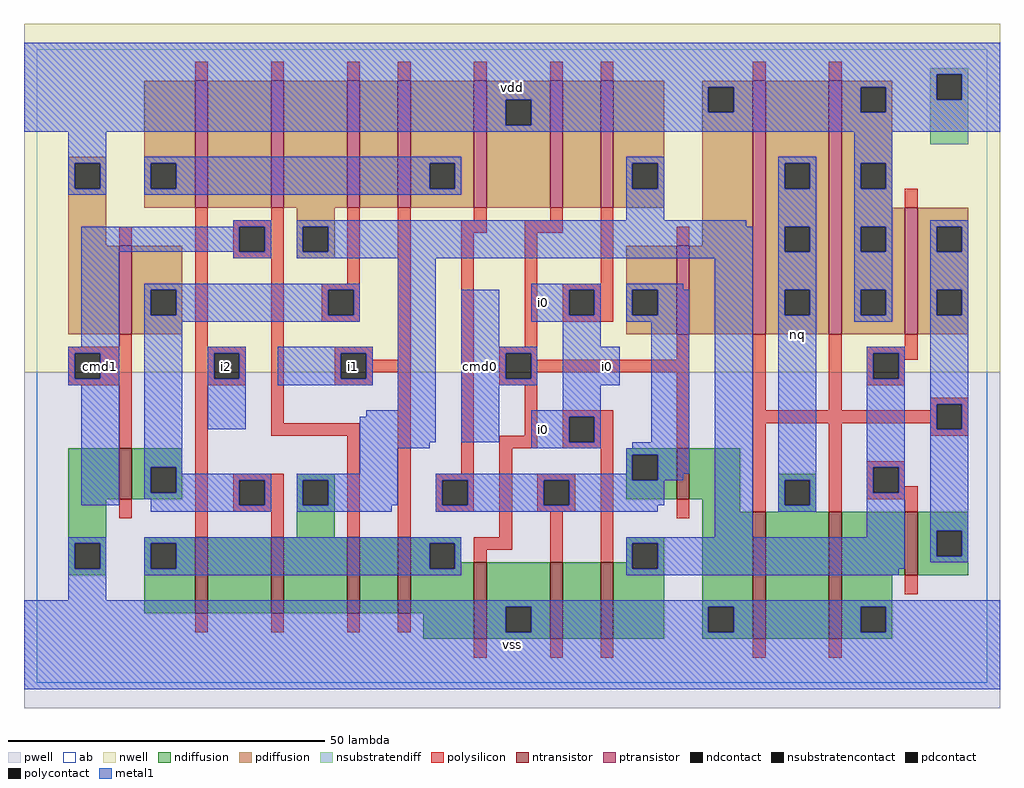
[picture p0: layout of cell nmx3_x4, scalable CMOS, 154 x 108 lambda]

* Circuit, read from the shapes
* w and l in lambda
.subckt nmx3_x4 cmd0 cmd1 i0 i1 i2 nq vdd vss
M1 n1 cmd1 vss VSUBS nfet w=8 l=2
M2 n2 i2 n3 VSUBS nfet w=12 l=2
M3 n4 n1 n2 VSUBS nfet w=12 l=2
M4 n5 cmd1 n4 VSUBS nfet w=12 l=2
M5 n3 i1 n5 VSUBS nfet w=12 l=2
M6 vss cmd0 n3 VSUBS nfet w=12 l=2
M7 n6 n7 vss VSUBS nfet w=12 l=2
M8 n4 i0 n6 VSUBS nfet w=12 l=2
M9 vss cmd0 n7 VSUBS nfet w=8 l=2
M10 nq n8 vss VSUBS nfet w=20 l=2 m=2
M11 n8 n4 vss VSUBS nfet w=10 l=2
M12 n1 cmd1 vdd vdd pfet w=14 l=2
M13 n9 i2 n10 vdd pfet w=20 l=2
M14 n4 cmd1 n9 vdd pfet w=20 l=2
M15 n11 n1 n4 vdd pfet w=20 l=2
M16 n10 i1 n11 vdd pfet w=20 l=2
M17 vdd n7 n10 vdd pfet w=20 l=2
M18 n12 cmd0 vdd vdd pfet w=20 l=2
M19 n4 i0 n12 vdd pfet w=20 l=2
M20 vdd cmd0 n7 vdd pfet w=14 l=2
M21 nq n8 vdd vdd pfet w=40 l=2 m=2
M22 n8 n4 vdd vdd pfet w=20 l=2
.ends

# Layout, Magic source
magic
tech scmos
<< ab >>
rect 0 0 150 100
<< pwell >>
rect -2 -4 152 49
<< nwell >>
rect -2 49 152 104
<< polysilicon >>
rect 25 95 27 98
rect 37 95 39 98
rect 49 95 51 98
rect 57 95 59 98
rect 69 95 71 98
rect 81 95 83 98
rect 89 95 91 98
rect 113 95 115 98
rect 125 95 127 98
rect 13 69 15 72
rect 13 53 15 55
rect 5 52 15 53
rect 5 48 6 52
rect 10 48 15 52
rect 5 47 15 48
rect 13 37 15 47
rect 25 53 27 75
rect 37 73 39 75
rect 31 72 39 73
rect 31 68 32 72
rect 36 68 39 72
rect 31 67 39 68
rect 25 52 33 53
rect 25 48 28 52
rect 32 48 33 52
rect 25 47 33 48
rect 13 26 15 29
rect 25 23 27 47
rect 37 41 39 67
rect 49 63 51 75
rect 45 62 51 63
rect 45 58 46 62
rect 50 58 51 62
rect 45 57 51 58
rect 47 52 53 53
rect 47 48 48 52
rect 52 51 53 52
rect 57 51 59 75
rect 69 73 71 75
rect 81 73 83 75
rect 52 49 59 51
rect 52 48 53 49
rect 47 47 53 48
rect 37 39 51 41
rect 31 32 39 33
rect 31 28 32 32
rect 36 28 39 32
rect 31 27 39 28
rect 37 23 39 27
rect 49 23 51 39
rect 57 23 59 49
rect 67 71 71 73
rect 77 71 83 73
rect 67 33 69 71
rect 77 53 79 71
rect 89 63 91 75
rect 101 69 103 72
rect 83 62 91 63
rect 83 58 84 62
rect 88 58 91 62
rect 83 57 91 58
rect 137 75 139 78
rect 73 52 79 53
rect 73 48 74 52
rect 78 51 79 52
rect 101 51 103 55
rect 78 49 103 51
rect 78 48 79 49
rect 73 47 79 48
rect 77 39 79 47
rect 63 32 69 33
rect 63 28 64 32
rect 68 28 69 32
rect 63 27 69 28
rect 73 37 79 39
rect 83 42 91 43
rect 83 38 84 42
rect 88 38 91 42
rect 83 37 91 38
rect 101 37 103 49
rect 113 43 115 55
rect 125 43 127 55
rect 137 53 139 55
rect 131 52 139 53
rect 131 48 132 52
rect 136 51 139 52
rect 136 48 137 51
rect 131 47 137 48
rect 141 44 147 45
rect 141 43 142 44
rect 113 41 142 43
rect 73 23 75 37
rect 79 32 85 33
rect 79 28 80 32
rect 84 28 85 32
rect 79 27 85 28
rect 69 21 75 23
rect 69 19 71 21
rect 81 19 83 27
rect 89 19 91 37
rect 101 26 103 29
rect 113 27 115 41
rect 125 27 127 41
rect 141 40 142 41
rect 146 40 147 44
rect 141 39 147 40
rect 131 34 137 35
rect 131 30 132 34
rect 136 31 137 34
rect 136 30 139 31
rect 131 29 139 30
rect 137 27 139 29
rect 25 8 27 11
rect 37 8 39 11
rect 49 8 51 11
rect 57 8 59 11
rect 137 14 139 17
rect 69 4 71 7
rect 81 4 83 7
rect 89 4 91 7
rect 113 4 115 7
rect 125 4 127 7
<< ndiffusion >>
rect 5 29 13 37
rect 15 34 23 37
rect 15 30 18 34
rect 22 30 23 34
rect 15 29 23 30
rect 5 22 11 29
rect 41 32 47 33
rect 41 28 42 32
rect 46 28 47 32
rect 41 23 47 28
rect 5 18 6 22
rect 10 18 11 22
rect 5 17 11 18
rect 17 22 25 23
rect 17 18 18 22
rect 22 18 25 22
rect 17 11 25 18
rect 27 11 37 23
rect 39 11 49 23
rect 51 11 57 23
rect 59 22 67 23
rect 59 18 62 22
rect 66 19 67 22
rect 93 36 101 37
rect 93 32 94 36
rect 98 32 101 36
rect 93 29 101 32
rect 103 29 111 37
rect 105 27 111 29
rect 117 32 123 33
rect 117 28 118 32
rect 122 28 123 32
rect 117 27 123 28
rect 93 22 99 23
rect 93 19 94 22
rect 66 18 69 19
rect 59 11 69 18
rect 61 7 69 11
rect 71 12 81 19
rect 71 8 74 12
rect 78 8 81 12
rect 71 7 81 8
rect 83 7 89 19
rect 91 18 94 19
rect 98 18 99 22
rect 91 7 99 18
rect 105 12 113 27
rect 105 8 106 12
rect 110 8 113 12
rect 105 7 113 8
rect 115 7 125 27
rect 127 17 137 27
rect 139 24 147 27
rect 139 20 142 24
rect 146 20 147 24
rect 139 17 147 20
rect 127 12 135 17
rect 127 8 130 12
rect 134 8 135 12
rect 127 7 135 8
<< pdiffusion >>
rect 5 82 11 83
rect 5 78 6 82
rect 10 78 11 82
rect 5 69 11 78
rect 17 82 25 95
rect 17 78 18 82
rect 22 78 25 82
rect 17 75 25 78
rect 27 75 37 95
rect 39 75 49 95
rect 51 75 57 95
rect 59 82 69 95
rect 59 78 62 82
rect 66 78 69 82
rect 59 75 69 78
rect 71 92 81 95
rect 71 88 74 92
rect 78 88 81 92
rect 71 75 81 88
rect 83 75 89 95
rect 91 82 99 95
rect 91 78 94 82
rect 98 78 99 82
rect 91 75 99 78
rect 105 94 113 95
rect 105 90 106 94
rect 110 90 113 94
rect 5 55 13 69
rect 15 62 23 69
rect 15 58 18 62
rect 22 58 23 62
rect 15 55 23 58
rect 41 72 47 75
rect 41 68 42 72
rect 46 68 47 72
rect 41 67 47 68
rect 105 69 113 90
rect 93 62 101 69
rect 93 58 94 62
rect 98 58 101 62
rect 93 55 101 58
rect 103 55 113 69
rect 115 82 125 95
rect 115 78 118 82
rect 122 78 125 82
rect 115 72 125 78
rect 115 68 118 72
rect 122 68 125 72
rect 115 62 125 68
rect 115 58 118 62
rect 122 58 125 62
rect 115 55 125 58
rect 127 94 135 95
rect 127 90 130 94
rect 134 90 135 94
rect 127 82 135 90
rect 127 78 130 82
rect 134 78 135 82
rect 127 75 135 78
rect 127 72 137 75
rect 127 68 130 72
rect 134 68 137 72
rect 127 62 137 68
rect 127 58 130 62
rect 134 58 137 62
rect 127 55 137 58
rect 139 72 147 75
rect 139 68 142 72
rect 146 68 147 72
rect 139 62 147 68
rect 139 58 142 62
rect 146 58 147 62
rect 139 55 147 58
<< metal1 >>
rect -2 96 152 101
rect -2 94 142 96
rect -2 92 106 94
rect -2 88 74 92
rect 78 90 106 92
rect 110 90 130 94
rect 134 92 142 94
rect 146 92 152 96
rect 134 90 152 92
rect 78 88 152 90
rect -2 87 152 88
rect 5 82 11 87
rect 5 78 6 82
rect 10 78 11 82
rect 5 77 11 78
rect 17 82 67 83
rect 17 78 18 82
rect 22 78 62 82
rect 66 78 67 82
rect 17 77 67 78
rect 93 82 99 83
rect 93 78 94 82
rect 98 78 99 82
rect 93 73 99 78
rect 117 82 123 83
rect 117 78 118 82
rect 122 78 123 82
rect 31 72 37 73
rect 7 68 32 72
rect 36 68 37 72
rect 7 53 13 68
rect 31 67 37 68
rect 41 72 112 73
rect 117 72 123 78
rect 41 68 42 72
rect 46 68 113 72
rect 41 67 113 68
rect 5 52 13 53
rect 5 48 6 52
rect 10 48 13 52
rect 5 47 13 48
rect 7 28 13 47
rect 17 62 51 63
rect 17 58 18 62
rect 22 58 46 62
rect 50 58 51 62
rect 17 57 51 58
rect 17 34 23 57
rect 27 52 33 53
rect 27 48 28 52
rect 32 48 33 52
rect 27 40 33 48
rect 38 52 53 53
rect 38 48 48 52
rect 52 48 53 52
rect 38 47 53 48
rect 57 43 63 67
rect 78 62 89 63
rect 52 42 63 43
rect 17 30 18 34
rect 22 33 23 34
rect 51 38 63 42
rect 67 53 73 62
rect 78 58 84 62
rect 88 58 89 62
rect 78 57 89 58
rect 93 62 102 63
rect 93 58 94 62
rect 98 58 103 62
rect 93 57 103 58
rect 83 53 89 57
rect 67 52 79 53
rect 67 48 74 52
rect 78 48 79 52
rect 67 47 79 48
rect 83 47 92 53
rect 67 38 73 47
rect 83 43 89 47
rect 78 42 89 43
rect 78 38 84 42
rect 88 38 89 42
rect 97 38 103 57
rect 51 37 62 38
rect 78 37 89 38
rect 94 37 103 38
rect 51 33 57 37
rect 93 36 103 37
rect 93 33 94 36
rect 22 32 37 33
rect 22 30 32 32
rect 17 29 32 30
rect 18 28 32 29
rect 36 28 37 32
rect 18 27 37 28
rect 41 32 57 33
rect 41 28 42 32
rect 46 28 57 32
rect 63 32 94 33
rect 98 33 103 36
rect 98 32 102 33
rect 63 28 64 32
rect 68 28 80 32
rect 84 28 99 32
rect 41 27 56 28
rect 63 27 98 28
rect 107 23 113 67
rect 117 68 118 72
rect 122 68 123 72
rect 117 62 123 68
rect 117 58 118 62
rect 122 58 123 62
rect 117 32 123 58
rect 129 82 135 87
rect 129 78 130 82
rect 134 78 135 82
rect 129 72 135 78
rect 129 68 130 72
rect 134 68 135 72
rect 129 62 135 68
rect 129 58 130 62
rect 134 58 135 62
rect 129 57 135 58
rect 141 72 147 73
rect 141 68 142 72
rect 146 68 147 72
rect 141 62 147 68
rect 141 58 142 62
rect 146 58 147 62
rect 117 28 118 32
rect 122 28 123 32
rect 117 27 123 28
rect 131 52 137 53
rect 131 48 132 52
rect 136 48 137 52
rect 131 34 137 48
rect 131 30 132 34
rect 136 30 137 34
rect 131 23 137 30
rect 5 22 11 23
rect 5 18 6 22
rect 10 18 11 22
rect 5 13 11 18
rect 17 22 67 23
rect 17 18 18 22
rect 22 18 62 22
rect 66 18 67 22
rect 17 17 67 18
rect 93 22 137 23
rect 93 18 94 22
rect 98 18 137 22
rect 141 44 147 58
rect 141 40 142 44
rect 146 40 147 44
rect 141 24 147 40
rect 141 20 142 24
rect 146 20 147 24
rect 141 19 147 20
rect 93 17 136 18
rect -2 12 152 13
rect -2 8 74 12
rect 78 8 106 12
rect 110 8 130 12
rect 134 8 152 12
rect -2 -1 152 8
<< ntransistor >>
rect 13 29 15 37
rect 25 11 27 23
rect 37 11 39 23
rect 49 11 51 23
rect 57 11 59 23
rect 101 29 103 37
rect 69 7 71 19
rect 81 7 83 19
rect 89 7 91 19
rect 113 7 115 27
rect 125 7 127 27
rect 137 17 139 27
<< ptransistor >>
rect 25 75 27 95
rect 37 75 39 95
rect 49 75 51 95
rect 57 75 59 95
rect 69 75 71 95
rect 81 75 83 95
rect 89 75 91 95
rect 13 55 15 69
rect 101 55 103 69
rect 113 55 115 95
rect 125 55 127 95
rect 137 55 139 75
<< polycontact >>
rect 6 48 10 52
rect 32 68 36 72
rect 28 48 32 52
rect 46 58 50 62
rect 48 48 52 52
rect 32 28 36 32
rect 84 58 88 62
rect 74 48 78 52
rect 64 28 68 32
rect 84 38 88 42
rect 132 48 136 52
rect 80 28 84 32
rect 142 40 146 44
rect 132 30 136 34
<< ndcontact >>
rect 18 30 22 34
rect 42 28 46 32
rect 6 18 10 22
rect 18 18 22 22
rect 62 18 66 22
rect 94 32 98 36
rect 118 28 122 32
rect 74 8 78 12
rect 94 18 98 22
rect 106 8 110 12
rect 142 20 146 24
rect 130 8 134 12
<< pdcontact >>
rect 6 78 10 82
rect 18 78 22 82
rect 62 78 66 82
rect 74 88 78 92
rect 94 78 98 82
rect 106 90 110 94
rect 18 58 22 62
rect 42 68 46 72
rect 94 58 98 62
rect 118 78 122 82
rect 118 68 122 72
rect 118 58 122 62
rect 130 90 134 94
rect 130 78 134 82
rect 130 68 134 72
rect 130 58 134 62
rect 142 68 146 72
rect 142 58 146 62
<< nsubstratencontact >>
rect 142 92 146 96
<< nsubstratendiff >>
rect 141 96 147 97
rect 141 92 142 96
rect 146 92 147 96
rect 141 85 147 92
<< labels >>
rlabel metal1 10 50 10 50 6 cmd1
rlabel metal1 10 50 10 50 6 cmd1
rlabel polycontact 30 50 30 50 6 i2
rlabel polycontact 30 50 30 50 6 i2
rlabel polycontact 50 50 50 50 6 i1
rlabel polycontact 50 50 50 50 6 i1
rlabel metal1 75 6 75 6 6 vss
rlabel metal1 75 6 75 6 6 vss
rlabel metal1 80 40 80 40 6 i0
rlabel metal1 80 40 80 40 6 i0
rlabel metal1 70 50 70 50 6 cmd0
rlabel metal1 70 50 70 50 6 cmd0
rlabel metal1 80 60 80 60 6 i0
rlabel metal1 80 60 80 60 6 i0
rlabel metal1 75 94 75 94 6 vdd
rlabel metal1 75 94 75 94 6 vdd
rlabel metal1 90 50 90 50 6 i0
rlabel metal1 90 50 90 50 6 i0
rlabel metal1 120 55 120 55 6 nq
rlabel metal1 120 55 120 55 6 nq
<< end >>
